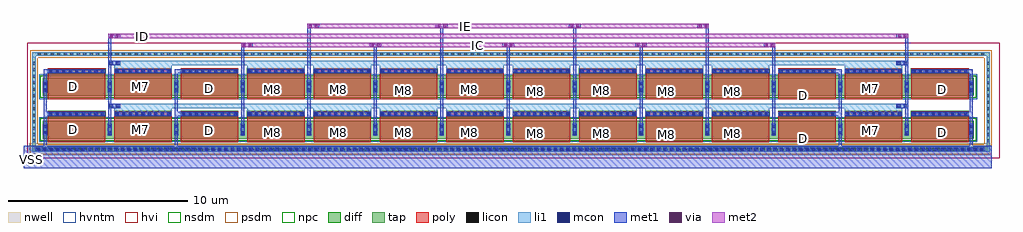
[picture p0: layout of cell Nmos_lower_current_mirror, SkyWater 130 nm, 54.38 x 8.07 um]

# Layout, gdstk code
import gdstk
lib = gdstk.Library(unit=1e-6, precision=1e-09)
def R(c, l, rs):  # rectangles x0, y0, x1, y1
    for r in rs: c.add(gdstk.rectangle(r[:2], r[2:], *l))
def A(c, l, x, y, w, h, nx, ny, dx, dy):  # array of equal rectangles
    R(c, l, [(x+i*dx, y+j*dy, x+i*dx+w, y+j*dy+h) for i in range(nx) for j in range(ny)])
def P(c, l, *ps):  # polygons
    for p in ps: c.add(gdstk.Polygon(p, *l))
nwell = (64, 20)
diff = (65, 20)
tap = (65, 44)
poly = (66, 20)
licon = (66, 44)
li1 = (67, 20)
mcon = (67, 44)
met1 = (68, 20)
via = (68, 44)
met2 = (69, 20)
hvi = (75, 20)
nsdm = (93, 44)
psdm = (94, 20)
npc = (95, 20)
hvntm = (125, 20)

nfet_2 = lib.new_cell('nfet$2')
R(nfet_2, diff, [(0,0,51.9,1)])
A(nfet_2, poly, 0.3, -0.2, 3.2, 1.4, 14, 1, 3.7, 0)
A(nfet_2, poly, 0.3, 1.2, 3.2, 0.33, 14, 1, 3.7, 0)
A(nfet_2, licon, 3.665, 0.235, 0.17, 0.17, 13, 2, 3.7, 0.36)
A(nfet_2, licon, 0.375, 1.28, 0.17, 0.17, 9, 1, 0.36, 0)
A(nfet_2, licon, 4.075, 1.28, 0.17, 0.17, 9, 1, 0.36, 0)
A(nfet_2, licon, 7.775, 1.28, 0.17, 0.17, 9, 1, 0.36, 0)
A(nfet_2, licon, 11.475, 1.28, 0.17, 0.17, 9, 1, 0.36, 0)
A(nfet_2, licon, 15.175, 1.28, 0.17, 0.17, 9, 1, 0.36, 0)
A(nfet_2, licon, 18.875, 1.28, 0.17, 0.17, 9, 1, 0.36, 0)
A(nfet_2, licon, 22.575, 1.28, 0.17, 0.17, 9, 1, 0.36, 0)
A(nfet_2, licon, 26.275, 1.28, 0.17, 0.17, 9, 1, 0.36, 0)
A(nfet_2, licon, 29.975, 1.28, 0.17, 0.17, 9, 1, 0.36, 0)
A(nfet_2, licon, 33.675, 1.28, 0.17, 0.17, 9, 1, 0.36, 0)
A(nfet_2, licon, 37.375, 1.28, 0.17, 0.17, 9, 1, 0.36, 0)
A(nfet_2, licon, 41.075, 1.28, 0.17, 0.17, 9, 1, 0.36, 0)
A(nfet_2, licon, 44.775, 1.28, 0.17, 0.17, 9, 1, 0.36, 0)
A(nfet_2, licon, 48.475, 1.28, 0.17, 0.17, 9, 1, 0.36, 0)
R(nfet_2, licon, [(0.065,0.235,0.235,0.405), (51.665,0.235,51.835,0.405), (0.065,0.595,0.235,0.765), (51.665,0.595,51.835,0.765)])
A(nfet_2, li1, 3.665, 0.155, 0.17, 0.69, 13, 1, 3.7, 0)
A(nfet_2, li1, 0.295, 1.28, 3.21, 0.17, 14, 1, 3.7, 0)
R(nfet_2, li1, [(0.065,0.155,0.235,0.845), (51.665,0.155,51.835,0.845)])
A(nfet_2, mcon, 3.665, 0.235, 0.17, 0.17, 13, 2, 3.7, 0.36)
A(nfet_2, mcon, 0.375, 1.28, 0.17, 0.17, 9, 1, 0.36, 0)
A(nfet_2, mcon, 4.075, 1.28, 0.17, 0.17, 9, 1, 0.36, 0)
A(nfet_2, mcon, 7.775, 1.28, 0.17, 0.17, 9, 1, 0.36, 0)
A(nfet_2, mcon, 11.475, 1.28, 0.17, 0.17, 9, 1, 0.36, 0)
A(nfet_2, mcon, 15.175, 1.28, 0.17, 0.17, 9, 1, 0.36, 0)
A(nfet_2, mcon, 18.875, 1.28, 0.17, 0.17, 9, 1, 0.36, 0)
A(nfet_2, mcon, 22.575, 1.28, 0.17, 0.17, 9, 1, 0.36, 0)
A(nfet_2, mcon, 26.275, 1.28, 0.17, 0.17, 9, 1, 0.36, 0)
A(nfet_2, mcon, 29.975, 1.28, 0.17, 0.17, 9, 1, 0.36, 0)
A(nfet_2, mcon, 33.675, 1.28, 0.17, 0.17, 9, 1, 0.36, 0)
A(nfet_2, mcon, 37.375, 1.28, 0.17, 0.17, 9, 1, 0.36, 0)
A(nfet_2, mcon, 41.075, 1.28, 0.17, 0.17, 9, 1, 0.36, 0)
A(nfet_2, mcon, 44.775, 1.28, 0.17, 0.17, 9, 1, 0.36, 0)
A(nfet_2, mcon, 48.475, 1.28, 0.17, 0.17, 9, 1, 0.36, 0)
R(nfet_2, mcon, [(0.065,0.235,0.235,0.405), (51.665,0.235,51.835,0.405), (0.065,0.595,0.235,0.765), (51.665,0.595,51.835,0.765)])
A(nfet_2, met1, 3.635, 0.175, 0.23, 0.65, 13, 1, 3.7, 0)
A(nfet_2, met1, 0.315, 1.25, 3.17, 0.23, 14, 1, 3.7, 0)
R(nfet_2, met1, [(0.035,0.175,0.265,0.825), (51.635,0.175,51.865,0.825)])
R(nfet_2, hvi, [(-0.37,-0.385,52.27,1.725)])
R(nfet_2, nsdm, [(-0.125,-0.125,52.025,1.125)])
A(nfet_2, npc, 0.29, 1.19, 3.22, 0.35, 14, 1, 3.7, 0)
R(nfet_2, hvntm, [(-0.185,-0.185,52.085,1.185)])

vias_gen = lib.new_cell('vias_gen')
R(vias_gen, li1, [(0,0,0.66,0.26)])
R(vias_gen, mcon, [(0.065,0.045,0.235,0.215), (0.425,0.045,0.595,0.215)])
R(vias_gen, met1, [(0,0,0.66,0.26)])

vias_gen_4 = lib.new_cell('vias_gen$4')
R(vias_gen_4, nwell, [(-0.18,-0.18,53.38,0.47)])
R(vias_gen_4, diff, [(0,0,53.2,0.29)])
A(vias_gen_4, licon, 0.165, 0.06, 0.17, 0.17, 156, 1, 0.34, 0)
R(vias_gen_4, li1, [(0,0,53.2,0.29)])
A(vias_gen_4, mcon, 0.235, 0.06, 0.17, 0.17, 147, 1, 0.36, 0)
R(vias_gen_4, met1, [(0,0,53.2,0.29)])
R(vias_gen_4, psdm, [(-0.125,-0.125,53.325,0.415)])

guard_ring_gen_5 = lib.new_cell('guard_ring_gen$5')
P(guard_ring_gen_5, tap, [(-0.17,-0.17),(-0.17,5.2),(0,5.2),(0,0),(53,0),(53,5.2),(-0.17,5.2),(-0.17,5.37),(53.17,5.37),(53.17,-0.17)])
A(guard_ring_gen_5, licon, 0.135, -0.17, 0.17, 0.17, 147, 2, 0.36, 5.37)
A(guard_ring_gen_5, licon, -0.17, 0.355, 0.17, 0.17, 1, 13, 0, 0.36)
A(guard_ring_gen_5, licon, 53, 0.355, 0.17, 0.17, 1, 13, 0, 0.36)
P(guard_ring_gen_5, li1, [(-0.17,-0.17),(-0.17,5.2),(0,5.2),(0,0),(53,0),(53,5.2),(-0.17,5.2),(-0.17,5.37),(53.17,5.37),(53.17,-0.17)])
P(guard_ring_gen_5, psdm, [(-0.295,-0.295),(-0.295,5.075),(0.125,5.075),(0.125,0.125),(52.875,0.125),(52.875,5.075),(-0.295,5.075),(-0.295,5.495),(53.295,5.495),(53.295,-0.295)])

vias_gen_2 = lib.new_cell('vias_gen$2')
R(vias_gen_2, met1, [(0,0,0.66,0.26)])
R(vias_gen_2, via, [(0.095,0.055,0.245,0.205), (0.415,0.055,0.565,0.205)])
R(vias_gen_2, met2, [(0,0,0.66,0.26)])

nmos_lower_current_mirro = lib.new_cell('Nmos_lower_current_mirror')
A(nmos_lower_current_mirro, li1, 10.58, -0.885, 3.21, 0.495, 8, 2, 3.7, 2.385)
R(nmos_lower_current_mirro, li1, [(3.175,-0.885,6.39,-0.39), (43.88,-0.885,47.09,-0.39), (3.51,-0.65,47.36,-0.39), (3.175,1.5,6.39,1.995), (43.88,1.5,47.09,1.995), (3.51,1.735,47.36,1.995)])
R(nmos_lower_current_mirro, met1, [(-1.875,-4,52.09,-2.74), (50.85,-3.085,51.02,-0.865), (-0.75,-3.06,-0.58,1.52), (50.85,-2.93,51.02,1.52), (43.55,-2.9,43.72,-0.86), (6.55,-2.895,6.72,1.53), (6.55,-2.895,6.72,-0.855), (43.55,-2.89,43.72,1.525), (2.85,-2.16,3.02,3.5), (13.95,-2.16,14.12,4), (-0.75,-2.15,-0.58,-0.865), (28.75,-1.885,28.92,3.93), (32.45,-1.86,32.62,3.01), (39.85,-1.86,40.02,3.01), (36.15,-1.795,36.32,3.92), (21.345,-1.79,21.515,3.975), (17.65,-1.73,17.82,3.01), (25.05,-1.68,25.22,3.01), (47.25,-1.535,47.42,3.5), (2.85,-1.515,3.02,-0.39), (10.25,-1.515,10.42,3.01), (-0.75,-1.085,-0.5,-0.855), (43.37,-1.085,43.72,-0.855), (50.77,-1.085,51.02,-0.855), (6.55,-1.08,6.9,-0.85), (32.45,0.525,32.62,2.165), (39.85,0.525,40.02,2.165), (17.65,0.655,17.82,2.295), (25.05,0.705,25.22,2.345), (47.25,0.85,47.42,1.995), (10.25,0.87,10.42,2.51), (-0.75,1.3,-0.5,1.53), (43.37,1.3,43.72,1.53), (50.77,1.3,51.02,1.53), (6.55,1.305,6.9,1.535)])
R(nmos_lower_current_mirro, met2, [(10.91,2.75,39.935,3.01), (3.51,3.24,46.89,3.5), (13.95,3.81,35.66,4.07)])
R(nmos_lower_current_mirro, hvi, [(-1.655,-3.44,52.51,3.005)])
nmos_lower_current_mirro.add(gdstk.Reference(nfet_2, (-0.815,0.05)))
nmos_lower_current_mirro.add(gdstk.Reference(vias_gen, (2.85,1.735)))
nmos_lower_current_mirro.add(gdstk.Reference(vias_gen, (46.76,1.735)))
nmos_lower_current_mirro.add(gdstk.Reference(vias_gen, (2.85,-0.65)))
nmos_lower_current_mirro.add(gdstk.Reference(vias_gen, (46.76,-0.65)))
nmos_lower_current_mirro.add(gdstk.Reference(vias_gen_4, (-1.375,-3.08)))
nmos_lower_current_mirro.add(gdstk.Reference(guard_ring_gen_5, (-1.205,-2.91)))
nmos_lower_current_mirro.add(gdstk.Reference(vias_gen_2, (10.25,2.75)))
nmos_lower_current_mirro.add(gdstk.Reference(vias_gen_2, (39.36,2.75)))
nmos_lower_current_mirro.add(gdstk.Reference(vias_gen_2, (17.405,2.75)))
nmos_lower_current_mirro.add(gdstk.Reference(vias_gen_2, (24.805,2.75)))
nmos_lower_current_mirro.add(gdstk.Reference(vias_gen_2, (32.2,2.75)))
nmos_lower_current_mirro.add(gdstk.Reference(vias_gen_2, (2.85,3.24)))
nmos_lower_current_mirro.add(gdstk.Reference(vias_gen_2, (46.76,3.24)))
nmos_lower_current_mirro.add(gdstk.Reference(nfet_2, (-0.815,-2.335)))
nmos_lower_current_mirro.add(gdstk.Reference(vias_gen_2, (35.66,3.81)))
nmos_lower_current_mirro.add(gdstk.Reference(vias_gen_2, (13.95,3.81)))
nmos_lower_current_mirro.add(gdstk.Reference(vias_gen_2, (21.105,3.81)))
nmos_lower_current_mirro.add(gdstk.Reference(vias_gen_2, (28.505,3.81)))
nmos_lower_current_mirro.add(gdstk.Label('D', (0.9,0.55), layer=68, texttype=25))
nmos_lower_current_mirro.add(gdstk.Label('M7', (4.67,0.555), layer=68, texttype=25))
nmos_lower_current_mirro.add(gdstk.Label('D', (8.485,0.48), layer=68, texttype=25))
nmos_lower_current_mirro.add(gdstk.Label('M8', (11.985,0.385), layer=68, texttype=25))
nmos_lower_current_mirro.add(gdstk.Label('M8', (15.665,0.41), layer=68, texttype=25))
nmos_lower_current_mirro.add(gdstk.Label('M8', (19.28,0.36), layer=68, texttype=25))
nmos_lower_current_mirro.add(gdstk.Label('M8', (22.96,0.385), layer=68, texttype=25))
nmos_lower_current_mirro.add(gdstk.Label('M8', (26.675,0.305), layer=68, texttype=25))
nmos_lower_current_mirro.add(gdstk.Label('M8', (30.355,0.33), layer=68, texttype=25))
nmos_lower_current_mirro.add(gdstk.Label('M8', (33.97,0.28), layer=68, texttype=25))
nmos_lower_current_mirro.add(gdstk.Label('M8', (37.65,0.305), layer=68, texttype=25))
nmos_lower_current_mirro.add(gdstk.Label('D', (41.61,0.045), layer=68, texttype=25))
nmos_lower_current_mirro.add(gdstk.Label('M7', (45.335,0.475), layer=68, texttype=25))
nmos_lower_current_mirro.add(gdstk.Label('D', (49.31,0.395), layer=68, texttype=25))
nmos_lower_current_mirro.add(gdstk.Label('D', (0.9,-1.835), layer=68, texttype=25))
nmos_lower_current_mirro.add(gdstk.Label('M7', (4.67,-1.83), layer=68, texttype=25))
nmos_lower_current_mirro.add(gdstk.Label('D', (8.485,-1.905), layer=68, texttype=25))
nmos_lower_current_mirro.add(gdstk.Label('M8', (11.985,-2), layer=68, texttype=25))
nmos_lower_current_mirro.add(gdstk.Label('M8', (15.665,-1.975), layer=68, texttype=25))
nmos_lower_current_mirro.add(gdstk.Label('M8', (19.28,-2.025), layer=68, texttype=25))
nmos_lower_current_mirro.add(gdstk.Label('M8', (22.96,-2), layer=68, texttype=25))
nmos_lower_current_mirro.add(gdstk.Label('M8', (26.675,-2.08), layer=68, texttype=25))
nmos_lower_current_mirro.add(gdstk.Label('M8', (30.355,-2.055), layer=68, texttype=25))
nmos_lower_current_mirro.add(gdstk.Label('M8', (33.97,-2.105), layer=68, texttype=25))
nmos_lower_current_mirro.add(gdstk.Label('M8', (37.65,-2.08), layer=68, texttype=25))
nmos_lower_current_mirro.add(gdstk.Label('D', (41.61,-2.34), layer=68, texttype=25))
nmos_lower_current_mirro.add(gdstk.Label('M7', (45.335,-1.91), layer=68, texttype=25))
nmos_lower_current_mirro.add(gdstk.Label('D', (49.31,-1.99), layer=68, texttype=25))
nmos_lower_current_mirro.add(gdstk.Label('VSS', (-1.455,-3.485), layer=68, texttype=16))
nmos_lower_current_mirro.add(gdstk.Label('IC', (23.41,2.845), layer=69, texttype=16))
nmos_lower_current_mirro.add(gdstk.Label('ID', (4.76,3.35), layer=69, texttype=16))
nmos_lower_current_mirro.add(gdstk.Label('IE', (22.78,3.925), layer=69, texttype=16))

lib.write_gds('Nmos_lower_current_mirror.gds')
